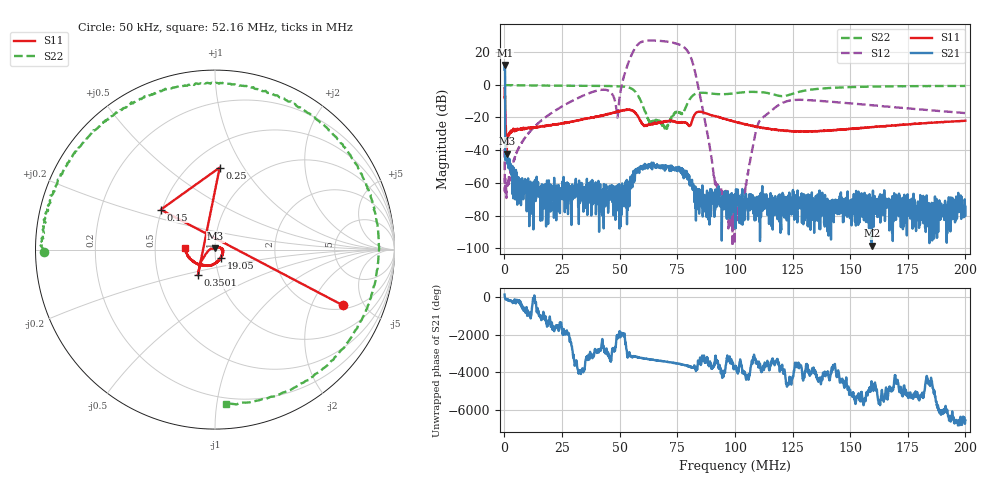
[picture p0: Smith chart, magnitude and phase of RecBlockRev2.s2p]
! 19-Feb-26 3:17:00 PM
! E:\VNA_MEASUREMENTS\RECBLOCK\RECBLOCKREV2.S2P
! CHANNEL.1
! TR.MEASUREMENT
! CORRECTED.DATA
# GHZ S RI R 50.0
! FREQ.GHZ  S11RE  S11IM  S21RE  S21IM  S12RE  S12IM  S22RE  S22IM
!; PortSelection: Port_12
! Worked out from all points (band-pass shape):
!   2000 points, 50 kHz to 200 MHz, reference 50 ohm
!   highest |S21| = 12.02 dB at 150 kHz (marker M1); lowest = -98.3 dB at 159.4 MHz (marker M2)
!   |S21| within 3 dB of the highest: start of sweep to 234 kHz
!   lowest |S11| = -42.2 dB at 950.2 kHz (marker M3), VSWR 1.02, Z = 50.1 + j0.764 ohm
!   |S11| at or under -10 dB: 287.8 kHz to end of sweep
!   |S22| runs from -27.8 to -0.2 dB; largest |S21 - S12| = 22
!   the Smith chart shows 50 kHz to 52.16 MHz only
!   S11 on the Smith chart (normalised r, x): 50 kHz: 2.20, -3.49; 150 kHz: 0.49, +0.25; 250 kHz: 0.68, +0.79; 350.1 kHz: 0.80, -0.23; 19.05 MHz: 1.06, -0.10; 52.16 MHz: 0.71, +0.02
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5e-05  0.7142 -0.3114  -1.877 2.133  -0.00809 0.00734  -0.952 -0.0117
0.000150025  -0.3021 0.2225  3.973 -0.3679  0.000446 -0.000325  -0.9612 0.00949
0.00025005  0.0261 0.4571  1.845 -1.894  0.000521 -0.0013  -0.9713 0.0225
0.000350075  -0.0955 -0.1428  -0.00245 -0.00545  0.000298 0.00111  -0.9655 0.0249
0.000950225  0.00127 0.00762  -0.00548 -0.00302  -0.000408 -0.000534  -0.966 0.0624
0.01905475  0.0326 -0.0486  -0.0004 -0.000132  -0.0718 0.0916  -0.3816 0.8513
0.03345835  -0.0144 -0.0845  0.000712 0.000698  0.0684 0.4342  0.5481 0.7407
0.05216303  -0.1679 0.0107  -9.53e-05 0.000594  -1.351 1.694  0.0605 -0.8615
0.05656413  -0.0922 0.1111  0.000794 0.000943  8.221 9.732  -0.5948 -0.2055
0.05946486  -0.0298 0.0642  0.00311 -0.000781  18.88 -6.954  -0.2027 0.1976
0.06286571  -0.0518 0.0343  0.000217 -0.00306  0.3897 -22.2  0.0554 0.0462
0.06676668  -0.0539 0.041  -0.00292 -0.00147  -20.05 -8.628  0.0177 -0.0722
0.06936733  -0.0564 0.0469  -0.00275 0.00065  -19.5 7.848  -0.00376 -0.0487
0.07216803  -0.052 0.0575  -0.00132 0.00285  -5.343 18.96  0.0506 -0.0793
0.07626906  -0.0413 0.0544  0.00179 0.00131  15.73 3.911  -0.0266 -0.1377
0.07876969  -0.035 0.0605  0.00107 -0.00106  6.024 -10.56  0.0122 -0.2104
0.08107026  -0.0572 0.0333  -0.00028 -0.000871  -5.173 -3.479  -0.2185 -0.3548
0.100075  0.0687 0.0284  -9.01e-05 -4.56e-05  0.000243 -0.000169  -0.1297 -0.5313
0.1333833  -0.00207 -0.0374  0.000509 5.24e-05  -0.052 -0.3275  0.179 0.6856
0.1593898  -0.0455 -0.0223  1.12e-05 4.7e-06  -0.2353 0.00369  0.5283 -0.6905
0.1666917  -0.0534 -0.0128  -0.000279 0.000179  -0.2037 0.0578  0.254 -0.8481
0.2  -0.0682 0.0403  -3.14e-05 -0.000183  -0.0496 0.1258  -0.6956 -0.5901
